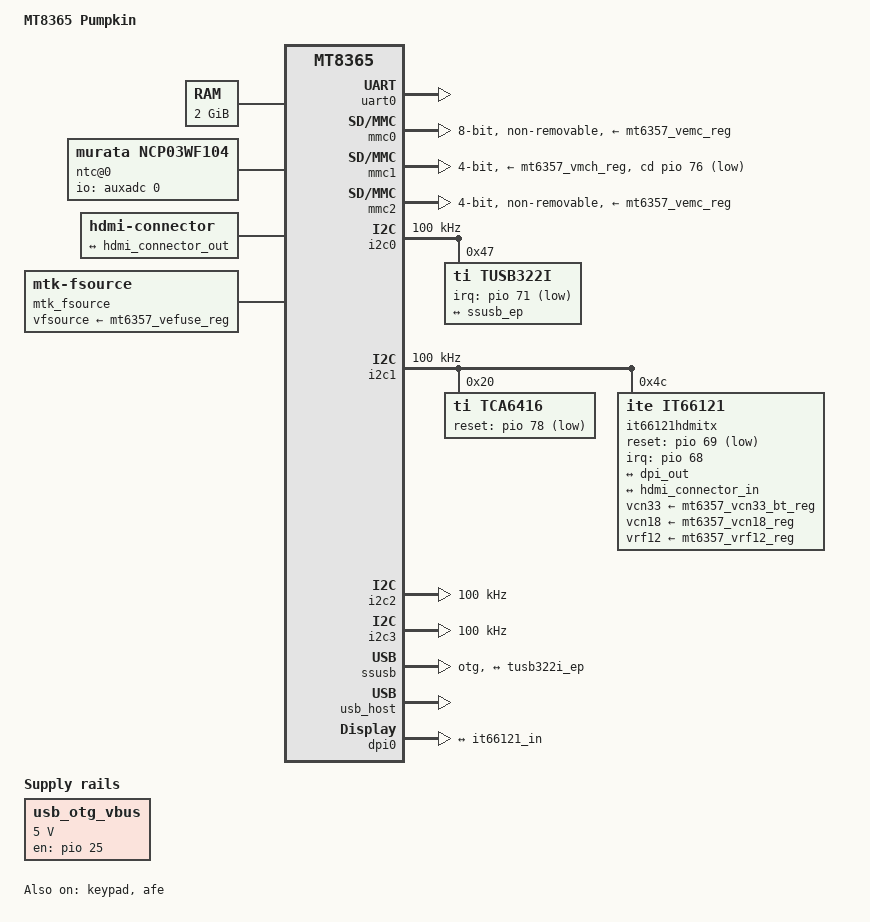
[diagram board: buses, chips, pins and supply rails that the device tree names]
// SPDX-License-Identifier: GPL-2.0
/*
 * Copyright (c) 2021 BayLibre, SAS.
 * Author: Fabien Parent <fparent@baylibre.com>
 */

/dts-v1/;

#include <dt-bindings/gpio/gpio.h>
#include <dt-bindings/input/input.h>
#include <dt-bindings/pinctrl/mt8365-pinfunc.h>
#include "mt8365.dtsi"
#include "mt6357.dtsi"

/ {
	model = "MT8365 Pumpkin";
	compatible = "mediatek,mt8365-pumpkin", "mediatek,mt8365";

	aliases {
		serial0 = &uart0;
		mmc0 = &mmc0;
		mmc1 = &mmc1;
		mmc2 = &mmc2;
	};

	memory@40000000 {
		device_type = "memory";
		reg = <0 0x40000000 0 0x80000000>;
	};

	chosen {
		stdout-path = "serial0:921600n8";
	};

	firmware {
		optee {
			compatible = "linaro,optee-tz";
			method = "smc";
		};
	};

	sound: sound {
		compatible = "mediatek,mt8365-pumpkin";
		mediatek,platform = <&afe>;
		pinctrl-names = "aud_mosi_on",
			"aud_mosi_off",
			"aud_miso_on",
			"aud_miso_off",
			"default",
			"aud_tdm_out";
		pinctrl-0 = <&aud_pins_mosi_on>;
		pinctrl-1 = <&aud_pins_mosi_off>;
		pinctrl-2 = <&aud_pins_miso_on>;
		pinctrl-3 = <&aud_pins_miso_off>;
		pinctrl-4 = <&aud_pins_default>;
		pinctrl-5 = <&aud_pins_tdm_out>;
		status = "okay";
	};

	reserved-memory {
		#address-cells = <2>;
		#size-cells = <2>;
		ranges;

		/* 12 MiB reserved for OP-TEE (BL32)
		 * +-----------------------+ 0x43e0_0000
		 * |      SHMEM 2MiB       |
		 * +-----------------------+ 0x43c0_0000
		 * |        | TA_RAM  8MiB |
		 * + TZDRAM +--------------+ 0x4340_0000
		 * |        | TEE_RAM 2MiB |
		 * +-----------------------+ 0x4320_0000
		 */
		optee_reserved: optee@43200000 {
			no-map;
			reg = <0 0x43200000 0 0x00c00000>;
		};
	};

	ntc@0 {
		compatible = "murata,ncp03wf104";
		pullup-uv = <1800000>;
		pullup-ohm = <390000>;
		pulldown-ohm = <0>;
		io-channels = <&auxadc 0>;
	};

	usb_otg_vbus: usb-otg-vbus-regulator {
		compatible = "regulator-fixed";
		regulator-name = "otg_vbus";
		regulator-min-microvolt = <5000000>;
		regulator-max-microvolt = <5000000>;
		gpio = <&pio 25 GPIO_ACTIVE_HIGH>;
		enable-active-high;
	};

	apu@0 {
		compatible = "mediatek,apu-drm";
		remoteproc = <&vpu0>;
		iova = <0 0x60000000 0 0x10000000>;
	};

	connector {
		compatible = "hdmi-connector";
		label = "hdmi";
		type = "d";

		port {
			hdmi_connector_in: endpoint {
				remote-endpoint = <&hdmi_connector_out>;
			};
		};
	};

	mtk_fsource: fsource {
		compatible = "mtk-fsource";
		vfsource-supply = <&mt6357_vefuse_reg>;
	};
};

&mt6357codec {
	use_hp_depop_flow = <0>; /* select 1: use, 0: not use */
	use_ul_260k = <0>; /* select 1: use, 0: not use */
};

&cpu0 {
	proc-supply = <&mt6357_vproc_reg>;
	sram-supply = <&mt6357_vsram_proc_reg>;
};

&cpu1 {
	proc-supply = <&mt6357_vproc_reg>;
	sram-supply = <&mt6357_vsram_proc_reg>;
};

&cpu2 {
	proc-supply = <&mt6357_vproc_reg>;
	sram-supply = <&mt6357_vsram_proc_reg>;
};

&cpu3 {
	proc-supply = <&mt6357_vproc_reg>;
	sram-supply = <&mt6357_vsram_proc_reg>;
};

&mt6357_vrf12_reg {
	regulator-always-on;
};

&mt6357_vaud28_reg {
	regulator-always-on;
};

&uart0 {
	status = "okay";
};

&mmc0 {
	status = "okay";
	pinctrl-names = "default", "state_uhs";
	pinctrl-0 = <&mmc0_pins_default>;
	pinctrl-1 = <&mmc0_pins_uhs>;
	bus-width = <8>;
	max-frequency = <200000000>;
	cap-mmc-highspeed;
	mmc-hs200-1_8v;
	mmc-hs400-1_8v;
	cap-mmc-hw-reset;
	no-sdio;
	no-sd;
	hs400-ds-delay = <0x12012>;
	vmmc-supply = <&mt6357_vemc_reg>;
	vqmmc-supply = <&mt6357_vio18_reg>;
	assigned-clocks = <&topckgen CLK_TOP_MSDC50_0_SEL>;
	assigned-clock-parents = <&topckgen CLK_TOP_MSDCPLL>;
	non-removable;
};

&mmc1 {
	pinctrl-names = "default", "state_uhs";
	pinctrl-0 = <&mmc1_pins_default>;
	pinctrl-1 = <&mmc1_pins_uhs>;
	cd-gpios = <&pio 76 GPIO_ACTIVE_LOW>;
	bus-width = <4>;
	max-frequency = <200000000>;
	cap-sd-highspeed;
	sd-uhs-sdr50;
	sd-uhs-sdr104;
	vmmc-supply = <&mt6357_vmch_reg>;
	vqmmc-supply = <&mt6357_vmc_reg>;
	status = "okay";
};

&mmc2 {
	pinctrl-names = "default", "state_uhs";
	pinctrl-0 = <&mmc2_pins_default>;
	pinctrl-1 = <&mmc2_pins_uhs>;
	bus-width = <4>;
	max-frequency = <200000000>;
	cap-sd-highspeed;
	sd-uhs-sdr25;
	sd-uhs-sdr50;
	sd-uhs-sdr104;
	keep-power-in-suspend;
	enable-sdio-wakeup;
	cap-sdio-irq;
	hs400-ds-delay = <0x12012>;
	vmmc-supply = <&mt6357_vemc_reg>;
	vqmmc-supply = <&mt6357_vio18_reg>;
	assigned-clocks = <&topckgen CLK_TOP_MSDC50_2_SEL>;
	assigned-clock-parents = <&topckgen CLK_TOP_MSDCPLL>;
	non-removable;
	status = "okay";
};

&i2c0 {
	pinctrl-names = "default";
	pinctrl-0 = <&i2c0_pins>;
	clock-frequency = <100000>;
	status = "okay";

	tusb322i: tusb322i@47 {
		compatible = "ti,tusb322i";
		reg = <0x47>;
		irq-gpios = <&pio 71 GPIO_ACTIVE_LOW>;
		pinctrl-0 = <&tusb322i_pins_default>;
		pinctrl-names = "default";
		status = "okay";

		usb_con: connector {
			compatible = "usb-c-connector";
			label = "USB-C";
			id-gpios = <&pio 39 GPIO_ACTIVE_HIGH>;
			vbus-supply = <&usb_otg_vbus>;
		};

		ports {
			#address-cells = <1>;
			#size-cells = <0>;

			port@1 {
				reg = <1>;

				tusb322i_ep: endpoint {
					remote-endpoint = <&ssusb_ep>;
				};
			};
		};
	};
};

&i2c1 {
	pinctrl-names = "default";
	pinctrl-0 = <&i2c1_pins>;
	clock-frequency = <100000>;
	status = "okay";

	tca6416: gpio@20 {
		compatible = "ti,tca6416";
		reg = <0x20>;
		reset-gpios = <&pio 78 GPIO_ACTIVE_LOW>;
		pinctrl-names = "default";
		pinctrl-0 = <&tca6416_pins>;

		gpio-controller;
		#gpio-cells = <2>;
	};

	it66121hdmitx: it66121hdmitx@4c {
		compatible = "ite,it66121";
		pinctrl-names = "default";
		pinctrl-0 = <&ite_pins_default>;
		vcn33-supply = <&mt6357_vcn33_bt_reg>;
		vcn18-supply = <&mt6357_vcn18_reg>;
		vrf12-supply = <&mt6357_vrf12_reg>;
		reset-gpios = <&pio 69 GPIO_ACTIVE_LOW>;
		interrupt-parent = <&pio>;
		interrupts = <68 IRQ_TYPE_LEVEL_LOW>;
		reg = <0x4c>;
		pclk-dual-edge;

		ports {
			#address-cells = <1>;
			#size-cells = <0>;

			port@0 {
				it66121_in: endpoint {
					bus-width = <12>;
					remote-endpoint = <&dpi_out>;
				};
			};

			port@1 {
				reg = <1>;
				hdmi_connector_out: endpoint {
					remote-endpoint = <&hdmi_connector_in>;
				};
			};
		};
	};
};

&i2c2 {
	pinctrl-names = "default";
	pinctrl-0 = <&i2c2_pins>;
	clock-frequency = <100000>;
	status = "okay";
};

&i2c3 {
	pinctrl-names = "default";
	pinctrl-0 = <&i2c3_pins>;
	clock-frequency = <100000>;
	status = "okay";
};

&ssusb {
	pinctrl-0 = <&usb_pins>;
	pinctrl-names = "default";
	maximum-speed = "high-speed";
	usb-role-switch;
	dr_mode = "otg";
	vusb33-supply = <&mt6357_vusb33_reg>;
	status = "okay";

	port {
		ssusb_ep: endpoint {
			remote-endpoint = <&tusb322i_ep>;
		};
	};
};

&usb_host {
	vusb33-supply = <&mt6357_vusb33_reg>;
	status = "okay";
};

&dpi0 {
	dpi_dual_edge;
	dpi_pin_mode_swap;
	pinctrl-names = "default", "sleep";
	pinctrl-0 = <&dpi_pin_func>;
	pinctrl-1 = <&dpi_pin_gpio>;
	status = "okay";

	port {
		dpi_out: endpoint {
			remote-endpoint = <&it66121_in>;
		};
	};
};

&keypad {
	mediatek,debounce-us = <32000>;
	mediatek,double-keys;
	keypad,num-rows = <2>;
	keypad,num-columns = <1>;
	linux,keymap =
		<MATRIX_KEY(0x00, 0x00, KEY_VOLUMEDOWN)
		 MATRIX_KEY(0x01, 0x00, KEY_VOLUMEUP)>;
	status = "okay";
	pinctrl-names = "default";
	pinctrl-0 = <&kpd_gpios_def_cfg>;
};

&pio {
	tps65132_pins: tps65132-pins {
		pins {
			pinmux = <MT8365_PIN_120_DMIC1_CLK__FUNC_GPIO120>,
				 <MT8365_PIN_121_DMIC1_DAT0__FUNC_GPIO121>;
		};
	};

	kpd_gpios_def_cfg: keypad_pins_default {
		pins_kp {
			pinmux = <MT8365_PIN_22_KPROW0__FUNC_KPROW0>,
				<MT8365_PIN_23_KPROW1__FUNC_KPROW1>,
				<MT8365_PIN_24_KPCOL0__FUNC_KPCOL0>;
		};
	};


	ctp_pins: touchscreen-pins {
		pin_reset {
			pinmux = <MT8365_PIN_4_GPIO4__FUNC_GPIO4>;
		};

		pin_int {
			pinmux = <MT8365_PIN_5_GPIO5__FUNC_GPIO5>;
			input-enable;
		};
	};

	mmc0_pins_default: mmc0default {
		pins_cmd_dat {
			pinmux = <MT8365_PIN_103_MSDC0_DAT0__FUNC_MSDC0_DAT0>,
				 <MT8365_PIN_102_MSDC0_DAT1__FUNC_MSDC0_DAT1>,
				 <MT8365_PIN_101_MSDC0_DAT2__FUNC_MSDC0_DAT2>,
				 <MT8365_PIN_100_MSDC0_DAT3__FUNC_MSDC0_DAT3>,
				 <MT8365_PIN_96_MSDC0_DAT4__FUNC_MSDC0_DAT4>,
				 <MT8365_PIN_95_MSDC0_DAT5__FUNC_MSDC0_DAT5>,
				 <MT8365_PIN_94_MSDC0_DAT6__FUNC_MSDC0_DAT6>,
				 <MT8365_PIN_93_MSDC0_DAT7__FUNC_MSDC0_DAT7>,
				 <MT8365_PIN_98_MSDC0_CMD__FUNC_MSDC0_CMD>;
			input-enable;
			bias-pull-up;
		};

		pins_clk {
			pinmux = <MT8365_PIN_99_MSDC0_CLK__FUNC_MSDC0_CLK>;
			bias-pull-down;
		};

		pins_rst {
			pinmux = <MT8365_PIN_97_MSDC0_RSTB__FUNC_MSDC0_RSTB>;
			bias-pull-up;
		};
	};

	mmc0_pins_uhs: mmc0@0{
		pins_cmd_dat {
			pinmux = <MT8365_PIN_103_MSDC0_DAT0__FUNC_MSDC0_DAT0>,
				 <MT8365_PIN_102_MSDC0_DAT1__FUNC_MSDC0_DAT1>,
				 <MT8365_PIN_101_MSDC0_DAT2__FUNC_MSDC0_DAT2>,
				 <MT8365_PIN_100_MSDC0_DAT3__FUNC_MSDC0_DAT3>,
				 <MT8365_PIN_96_MSDC0_DAT4__FUNC_MSDC0_DAT4>,
				 <MT8365_PIN_95_MSDC0_DAT5__FUNC_MSDC0_DAT5>,
				 <MT8365_PIN_94_MSDC0_DAT6__FUNC_MSDC0_DAT6>,
				 <MT8365_PIN_93_MSDC0_DAT7__FUNC_MSDC0_DAT7>,
				 <MT8365_PIN_98_MSDC0_CMD__FUNC_MSDC0_CMD>;
			input-enable;
			drive-strength = <MTK_DRIVE_10mA>;
			bias-pull-up = <MTK_PUPD_SET_R1R0_01>;
		};

		pins_clk {
			pinmux = <MT8365_PIN_99_MSDC0_CLK__FUNC_MSDC0_CLK>;
			drive-strength = <MTK_DRIVE_10mA>;
			bias-pull-down = <MTK_PUPD_SET_R1R0_10>;
		};

		pins_ds {
			pinmux = <MT8365_PIN_104_MSDC0_DSL__FUNC_MSDC0_DSL>;
			drive-strength = <MTK_DRIVE_10mA>;
			bias-pull-down = <MTK_PUPD_SET_R1R0_10>;
		};

		pins_rst {
			pinmux = <MT8365_PIN_97_MSDC0_RSTB__FUNC_MSDC0_RSTB>;
			drive-strength = <MTK_DRIVE_10mA>;
			bias-pull-up;
		};
	};

	mmc1_pins_default: mmc1default {
		pins_cmd_dat {
			pinmux = <MT8365_PIN_89_MSDC1_DAT0__FUNC_MSDC1_DAT0>,
				 <MT8365_PIN_90_MSDC1_DAT1__FUNC_MSDC1_DAT1>,
				 <MT8365_PIN_91_MSDC1_DAT2__FUNC_MSDC1_DAT2>,
				 <MT8365_PIN_92_MSDC1_DAT3__FUNC_MSDC1_DAT3>,
				 <MT8365_PIN_87_MSDC1_CMD__FUNC_MSDC1_CMD>;
			input-enable;
			bias-pull-up = <MTK_PUPD_SET_R1R0_01>;
		};

		pins_clk {
			pinmux = <MT8365_PIN_88_MSDC1_CLK__FUNC_MSDC1_CLK>;
			bias-pull-down = <MTK_PUPD_SET_R1R0_10>;
		};

		pin_cd {
			pinmux = <MT8365_PIN_76_CMDAT8__FUNC_GPIO76>;
			bias-pull-up;
		};
	};

	mmc1_pins_uhs: mmc1@0 {
		pins_cmd_dat {
			pinmux = <MT8365_PIN_89_MSDC1_DAT0__FUNC_MSDC1_DAT0>,
				 <MT8365_PIN_90_MSDC1_DAT1__FUNC_MSDC1_DAT1>,
				 <MT8365_PIN_91_MSDC1_DAT2__FUNC_MSDC1_DAT2>,
				 <MT8365_PIN_92_MSDC1_DAT3__FUNC_MSDC1_DAT3>,
				 <MT8365_PIN_87_MSDC1_CMD__FUNC_MSDC1_CMD>;
			input-enable;
			drive-strength = <MTK_DRIVE_6mA>;
			bias-pull-up = <MTK_PUPD_SET_R1R0_01>;
		};

		pins_clk {
			pinmux = <MT8365_PIN_88_MSDC1_CLK__FUNC_MSDC1_CLK>;
			drive-strength = <MTK_DRIVE_8mA>;
			bias-pull-down = <MTK_PUPD_SET_R1R0_10>;
		};

		pin_cd {
			pinmux = <MT8365_PIN_76_CMDAT8__FUNC_GPIO76>;
			bias-pull-up;
		};
	};

	mmc2_pins_default: mmc2default {
		pins_cmd_dat {
			pinmux = <MT8365_PIN_82_MSDC2_DAT0__FUNC_MSDC2_DAT0>,
				 <MT8365_PIN_83_MSDC2_DAT1__FUNC_MSDC2_DAT1>,
				 <MT8365_PIN_84_MSDC2_DAT2__FUNC_MSDC2_DAT2>,
				 <MT8365_PIN_85_MSDC2_DAT3__FUNC_MSDC2_DAT3>,
				 <MT8365_PIN_80_MSDC2_CMD__FUNC_MSDC2_CMD>;
			input-enable;
			drive-strength = <MTK_DRIVE_4mA>;
			bias-pull-up = <MTK_PUPD_SET_R1R0_01>;
		};

		pins_clk {
			pinmux = <MT8365_PIN_81_MSDC2_CLK__FUNC_MSDC2_CLK>;
			drive-strength = <MTK_DRIVE_4mA>;
			bias-pull-down = <MTK_PUPD_SET_R1R0_10>;
		};

		pins_sysrstb_en {
			pinmux = <MT8365_PIN_74_CMDAT6__FUNC_GPIO74>;
			output-low;
		};
	};

	mmc2_pins_uhs: mmc2@0 {
		pins_cmd_dat {
			pinmux = <MT8365_PIN_82_MSDC2_DAT0__FUNC_MSDC2_DAT0>,
				 <MT8365_PIN_83_MSDC2_DAT1__FUNC_MSDC2_DAT1>,
				 <MT8365_PIN_84_MSDC2_DAT2__FUNC_MSDC2_DAT2>,
				 <MT8365_PIN_85_MSDC2_DAT3__FUNC_MSDC2_DAT3>,
				 <MT8365_PIN_80_MSDC2_CMD__FUNC_MSDC2_CMD>;
			input-enable;
			drive-strength = <MTK_DRIVE_8mA>;
			bias-pull-up = <MTK_PUPD_SET_R1R0_01>;
		};

		pins_clk {
			pinmux = <MT8365_PIN_81_MSDC2_CLK__FUNC_MSDC2_CLK>;
			drive-strength = <MTK_DRIVE_8mA>;
			bias-pull-down = <MTK_PUPD_SET_R1R0_10>;
		};

		pins_ds {
			pinmux = <MT8365_PIN_86_MSDC2_DSL__FUNC_MSDC2_DSL>;
			drive-strength = <MTK_DRIVE_8mA>;
			bias-pull-down = <MTK_PUPD_SET_R1R0_10>;
		};

		pins_sysrstb_en {
			pinmux = <MT8365_PIN_126_DMIC3_CLK__FUNC_GPIO126>;
			output-high;
		};
	};

	i2c0_pins: i2c0 {
		pins_i2c {
			pinmux = <MT8365_PIN_57_SDA0__FUNC_SDA0_0>,
				 <MT8365_PIN_58_SCL0__FUNC_SCL0_0>;
			mediatek,pull-up-adv = <3>;
			mediatek,drive-strength-adv = <00>;
		};
	};


	i2c1_pins: i2c1 {
		pins_i2c {
			pinmux = <MT8365_PIN_59_SDA1__FUNC_SDA1_0>,
				 <MT8365_PIN_60_SCL1__FUNC_SCL1_0>;
			mediatek,pull-up-adv = <3>;
			mediatek,drive-strength-adv = <00>;
		};
	};

	i2c2_pins: i2c2 {
		pins_i2c {
			pinmux = <MT8365_PIN_61_SDA2__FUNC_SDA2_0>,
				 <MT8365_PIN_62_SCL2__FUNC_SCL2_0>;
			mediatek,pull-up-adv = <3>;
			mediatek,drive-strength-adv = <00>;
		};
	};

	i2c3_pins: i2c3 {
		pins_i2c {
			pinmux = <MT8365_PIN_63_SDA3__FUNC_SDA3_0>,
				 <MT8365_PIN_64_SCL3__FUNC_SCL3_0>;
			mediatek,pull-up-adv = <3>;
			mediatek,drive-strength-adv = <00>;
		};
	};

	ctp_pins: touchscreen-pins {
		pin_reset {
			pinmux = <MT8365_PIN_79_CMVSYNC__FUNC_GPIO79>;
		};

		pin_int {
			pinmux = <MT8365_PIN_126_DMIC3_CLK__FUNC_GPIO126>;
			input-enable;
		};
	};

	disp_pwm_pins: disp-pwm {
		pin {
			pinmux = <MT8365_PIN_19_DISP_PWM__FUNC_DISP_PWM>;
		};
	};

	usb_pins: usb-pins {
		pin_hub_rst {
			pinmux = <MT8365_PIN_70_CMDAT2__FUNC_GPIO70>;
			output-low;
		};

		pin_id {
			pinmux = <MT8365_PIN_39_URXD2__FUNC_GPIO39>;
			input-enable;
			bias-pull-up;
		};

		pins_vbus {
			pinmux = <MT8365_PIN_25_KPCOL1__FUNC_USB_DRVVBUS>;
		};
	};

	tca6416_pins: pinmux_tca6416_pins {
		gpio_mux_rst_n_pin {
			pinmux = <MT8365_PIN_78_CMHSYNC__FUNC_GPIO78>;
			output-high;
		};

		gpio_mux_int_n_pin {
			pinmux = <MT8365_PIN_79_CMVSYNC__FUNC_GPIO79>;
			input-enable;
			bias-pull-up;
		};
	};

	tusb322i_pins_default: tusb322i_pins_default {
		pins_irq {
			pinmux = <MT8365_PIN_71_CMDAT3__FUNC_GPIO71>;
			input-enable;
		};
	};

	ite_pins_default: ite_pins_default {
		pins_rst_ite {
			pinmux = <MT8365_PIN_69_CMDAT1__FUNC_GPIO69>;
			output-high;
		};

		pins_irq_ite {
			pinmux = <MT8365_PIN_68_CMDAT0__FUNC_GPIO68>;
			input-enable;
		};
	};

	dpi_pin_func: dpi_pin_func {
		pins_cmd_dat {
			pinmux = <MT8365_PIN_0_GPIO0__FUNC_DPI_D0>,
				 <MT8365_PIN_1_GPIO1__FUNC_DPI_D1>,
				 <MT8365_PIN_2_GPIO2__FUNC_DPI_D2>,
				 <MT8365_PIN_3_GPIO3__FUNC_DPI_D3>,
				 <MT8365_PIN_4_GPIO4__FUNC_DPI_D4>,
				 <MT8365_PIN_5_GPIO5__FUNC_DPI_D5>,
				 <MT8365_PIN_6_GPIO6__FUNC_DPI_D6>,
				 <MT8365_PIN_7_GPIO7__FUNC_DPI_D7>,
				 <MT8365_PIN_8_GPIO8__FUNC_DPI_D8>,
				 <MT8365_PIN_9_GPIO9__FUNC_DPI_D9>,
				 <MT8365_PIN_10_GPIO10__FUNC_DPI_D10>,
				 <MT8365_PIN_11_GPIO11__FUNC_DPI_D11>,
				 <MT8365_PIN_12_GPIO12__FUNC_DPI_DE>,
				 <MT8365_PIN_13_GPIO13__FUNC_DPI_VSYNC>,
				 <MT8365_PIN_14_GPIO14__FUNC_DPI_CK>,
				 <MT8365_PIN_15_GPIO15__FUNC_DPI_HSYNC>;
			drive-strength = <MTK_DRIVE_2mA>;
		};
	};

	dpi_pin_gpio: dpi_pin_gpio {
		pins_cmd_dat {
			pinmux = <MT8365_PIN_0_GPIO0__FUNC_GPIO0>,
				 <MT8365_PIN_1_GPIO1__FUNC_GPIO1>,
				 <MT8365_PIN_2_GPIO2__FUNC_GPIO2>,
				 <MT8365_PIN_3_GPIO3__FUNC_GPIO3>,
				 <MT8365_PIN_4_GPIO4__FUNC_GPIO4>,
				 <MT8365_PIN_5_GPIO5__FUNC_GPIO5>,
				 <MT8365_PIN_6_GPIO6__FUNC_GPIO6>,
				 <MT8365_PIN_7_GPIO7__FUNC_GPIO7>,
				 <MT8365_PIN_8_GPIO8__FUNC_GPIO8>,
				 <MT8365_PIN_9_GPIO9__FUNC_GPIO9>,
				 <MT8365_PIN_10_GPIO10__FUNC_GPIO10>,
				 <MT8365_PIN_11_GPIO11__FUNC_GPIO11>,
				 <MT8365_PIN_12_GPIO12__FUNC_GPIO12>,
				 <MT8365_PIN_13_GPIO13__FUNC_GPIO13>,
				 <MT8365_PIN_14_GPIO14__FUNC_GPIO14>,
				 <MT8365_PIN_15_GPIO15__FUNC_GPIO15>;
		};
	};

	aud_pins_mosi_on: mosion {
		pins_cmd_dat {
		pinmux = <MT8365_PIN_49_AUD_CLK_MOSI__FUNC_AUD_CLK_MOSI>,
			 <MT8365_PIN_50_AUD_SYNC_MOSI__FUNC_AUD_SYNC_MOSI>,
			 <MT8365_PIN_51_AUD_DAT_MOSI0__FUNC_AUD_DAT_MOSI0>,
			 <MT8365_PIN_52_AUD_DAT_MOSI1__FUNC_AUD_DAT_MOSI1>;
		drive-strength = <MTK_DRIVE_6mA>;
		};
	};

	aud_pins_mosi_off: mosioff {
		pins_cmd_dat {
		pinmux = <MT8365_PIN_49_AUD_CLK_MOSI__FUNC_GPIO49>,
			 <MT8365_PIN_50_AUD_SYNC_MOSI__FUNC_GPIO50>,
			 <MT8365_PIN_51_AUD_DAT_MOSI0__FUNC_GPIO51>,
			 <MT8365_PIN_52_AUD_DAT_MOSI1__FUNC_GPIO52>;
		input-enable;
		bias-pull-down;
		drive-strength = <MTK_DRIVE_2mA>;
		};
	};

	aud_pins_miso_on: misoon {
		pins_cmd_dat {
		pinmux = <MT8365_PIN_53_AUD_CLK_MISO__FUNC_AUD_CLK_MISO>,
			 <MT8365_PIN_54_AUD_SYNC_MISO__FUNC_AUD_SYNC_MISO>,
			 <MT8365_PIN_55_AUD_DAT_MISO0__FUNC_AUD_DAT_MISO0>,
			 <MT8365_PIN_56_AUD_DAT_MISO1__FUNC_AUD_DAT_MISO1>;
		drive-strength = <MTK_DRIVE_6mA>;
		};
	};

	aud_pins_miso_off: misooff {
		pins_cmd_dat {
		pinmux = <MT8365_PIN_53_AUD_CLK_MISO__FUNC_GPIO53>,
			 <MT8365_PIN_54_AUD_SYNC_MISO__FUNC_GPIO54>,
			 <MT8365_PIN_55_AUD_DAT_MISO0__FUNC_GPIO55>,
			 <MT8365_PIN_56_AUD_DAT_MISO1__FUNC_GPIO56>;
		input-enable;
		bias-pull-down;
		drive-strength = <MTK_DRIVE_2mA>;
		};
	};

	aud_pins_default: audiodefault {
		pins_cmd_dat {
		pinmux = <MT8365_PIN_121_DMIC1_DAT0__FUNC_I2S1_BCK>,
			 <MT8365_PIN_122_DMIC1_DAT1__FUNC_I2S1_LRCK>,
			 <MT8365_PIN_123_DMIC2_CLK__FUNC_I2S1_MCK>,
			 <MT8365_PIN_124_DMIC2_DAT0__FUNC_I2S1_DO>;
		};
	};

	aud_pins_tdm_out: audiotdmout {
		pins_cmd_dat {
		pinmux = <MT8365_PIN_129_TDM_TX_BCK__FUNC_TDM_TX_BCK>,
			 <MT8365_PIN_130_TDM_TX_LRCK__FUNC_TDM_TX_LRCK>,
			 <MT8365_PIN_131_TDM_TX_MCK__FUNC_TDM_TX_MCK>,
			 <MT8365_PIN_132_TDM_TX_DATA0__FUNC_TDM_TX_DATA0>,
			 <MT8365_PIN_133_TDM_TX_DATA1__FUNC_TDM_TX_DATA1>,
			 <MT8365_PIN_134_TDM_TX_DATA2__FUNC_TDM_TX_DATA2>,
			 <MT8365_PIN_135_TDM_TX_DATA3__FUNC_TDM_TX_DATA3>;
		};
	};
};

&afe {
	mediatek,i2s-clock-modes = <0 1>;
	mediatek,dmic-iir-on = <1>;
	mediatek,dmic-irr-mode = <5>;
	mediatek,dmic-two-wire-mode = <1>;
	status = "okay";
};

&mt6357_pmic {
	interrupt-parent = <&pio>;
	interrupts = <145 IRQ_TYPE_LEVEL_HIGH>;
	interrupt-controller;
	#interrupt-cells = <2>;
};

&dsi0 {
	status = "disabled";
};
